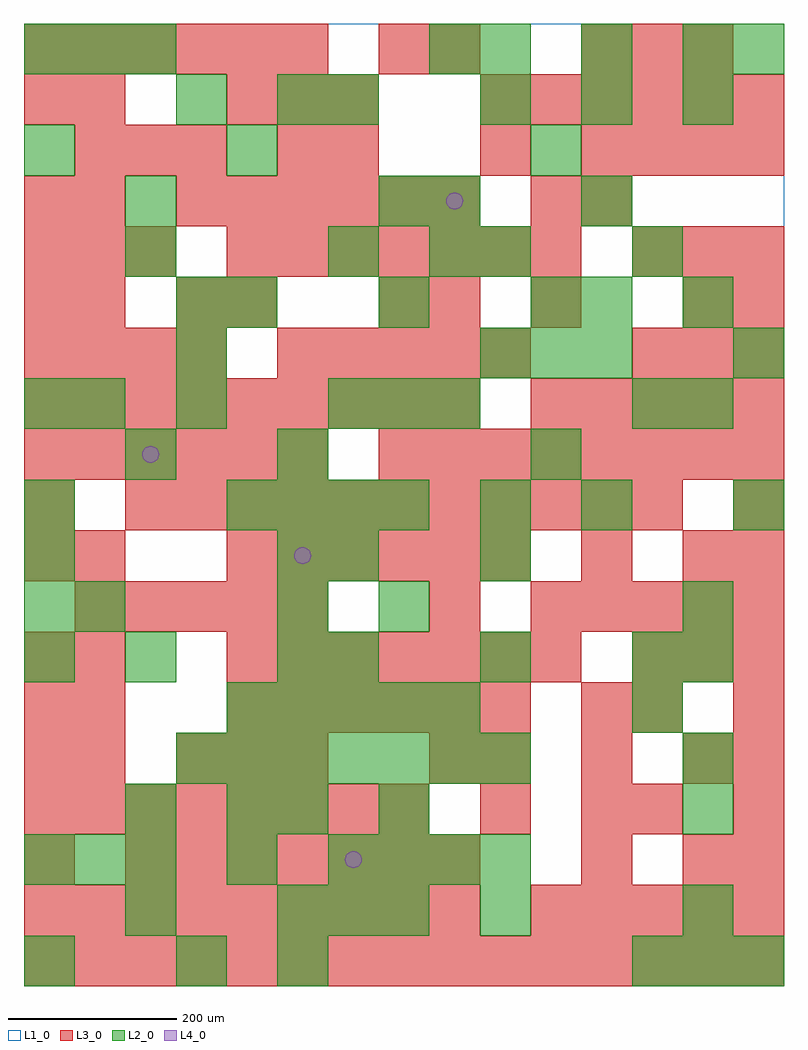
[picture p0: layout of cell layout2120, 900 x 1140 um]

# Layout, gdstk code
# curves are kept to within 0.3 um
import gdstk
lib = gdstk.Library(unit=1e-6, precision=1e-09)
def R(c, l, rs):  # rectangles x0, y0, x1, y1
    for r in rs: c.add(gdstk.rectangle(r[:2], r[2:], *l))
def A(c, l, x, y, w, h, nx, ny, dx, dy):  # array of equal rectangles
    R(c, l, [(x+i*dx, y+j*dy, x+i*dx+w, y+j*dy+h) for i in range(nx) for j in range(ny)])
def P(c, l, *ps):  # polygons
    for p in ps: c.add(gdstk.Polygon(p, *l))
L1_0 = (1, 0)
L2_0 = (2, 0)
L3_0 = (3, 0)
L4_0 = (4, 0)

layout2120 = lib.new_cell('layout2120')
R(layout2120, L1_0, [(0,0,900,1140)])
A(layout2120, L2_0, 300, 0, 60, 60, 1, 3, 0, 180)
A(layout2120, L2_0, 720, 0, 60, 60, 3, 1, 60, 0)
A(layout2120, L2_0, 300, 60, 60, 60, 3, 1, 60, 0)
A(layout2120, L2_0, 0, 120, 60, 60, 3, 2, 60, 960)
A(layout2120, L2_0, 360, 120, 60, 60, 4, 1, 60, 0)
A(layout2120, L2_0, 180, 240, 60, 60, 7, 1, 60, 0)
A(layout2120, L2_0, 240, 300, 60, 60, 5, 1, 60, 0)
A(layout2120, L2_0, 0, 360, 60, 60, 1, 4, 0, 60)
A(layout2120, L2_0, 120, 360, 60, 60, 1, 3, 0, 240)
A(layout2120, L2_0, 360, 360, 60, 60, 3, 1, 180, 0)
A(layout2120, L2_0, 240, 540, 60, 60, 4, 1, 60, 0)
A(layout2120, L2_0, 180, 660, 60, 60, 1, 3, 0, 60)
A(layout2120, L2_0, 360, 660, 60, 60, 3, 1, 60, 0)
A(layout2120, L2_0, 540, 720, 60, 60, 3, 1, 60, 0)
A(layout2120, L2_0, 240, 780, 60, 60, 3, 1, 180, 0)
A(layout2120, L2_0, 540, 1020, 60, 60, 3, 2, 120, 60)
R(layout2120, L2_0, [(0,0,60,60), (180,0,240,60), (120,60,180,120), (540,60,600,120), (780,60,840,120), (240,120,300,180), (120,180,180,240), (240,180,300,240), (420,180,480,240), (780,180,840,240), (780,240,840,300), (720,300,780,360), (780,360,840,420), (60,420,120,480), (300,420,360,480), (420,420,480,480), (780,420,840,480), (300,480,360,540), (360,480,420,540), (540,480,600,540), (540,540,600,600), (660,540,720,600), (840,540,900,600), (300,600,360,660), (600,600,660,660), (0,660,60,720), (60,660,120,720), (720,660,780,720), (780,660,840,720), (840,720,900,780), (660,780,720,840), (780,780,840,840), (360,840,420,900), (480,840,540,900), (540,840,600,900), (720,840,780,900), (120,900,180,960), (420,900,480,960), (480,900,540,960), (660,900,720,960), (0,960,60,1020), (240,960,300,1020), (600,960,660,1020), (180,1020,240,1080), (300,1020,360,1080), (360,1020,420,1080), (480,1080,540,1140), (840,1080,900,1140)])
A(layout2120, L3_0, 0, 0, 60, 60, 15, 1, 60, 0)
A(layout2120, L3_0, 0, 60, 60, 60, 9, 2, 60, 600)
A(layout2120, L3_0, 600, 60, 60, 60, 5, 2, 60, 360)
A(layout2120, L3_0, 120, 120, 60, 60, 7, 1, 60, 0)
A(layout2120, L3_0, 840, 120, 60, 60, 1, 4, 0, 60)
A(layout2120, L3_0, 0, 180, 60, 60, 8, 1, 60, 0)
A(layout2120, L3_0, 0, 240, 60, 60, 1, 3, 0, 60)
A(layout2120, L3_0, 60, 240, 60, 60, 1, 3, 0, 60)
A(layout2120, L3_0, 180, 240, 60, 60, 3, 1, 60, 0)
A(layout2120, L3_0, 540, 240, 60, 60, 3, 1, 120, 0)
A(layout2120, L3_0, 240, 300, 60, 60, 6, 2, 60, 180)
A(layout2120, L3_0, 240, 360, 60, 60, 7, 2, 60, 480)
A(layout2120, L3_0, 720, 360, 60, 60, 3, 2, 60, 360)
A(layout2120, L3_0, 60, 420, 60, 60, 5, 1, 60, 0)
A(layout2120, L3_0, 120, 540, 60, 60, 11, 1, 60, 0)
A(layout2120, L3_0, 0, 600, 60, 60, 6, 2, 60, 480)
A(layout2120, L3_0, 420, 600, 60, 60, 8, 1, 60, 0)
A(layout2120, L3_0, 600, 660, 60, 60, 5, 1, 60, 0)
A(layout2120, L3_0, 0, 720, 60, 60, 4, 1, 60, 0)
A(layout2120, L3_0, 300, 720, 60, 60, 5, 1, 60, 0)
A(layout2120, L3_0, 0, 780, 60, 60, 1, 3, 0, 120)
A(layout2120, L3_0, 60, 780, 60, 60, 1, 3, 0, 120)
A(layout2120, L3_0, 0, 840, 60, 60, 3, 1, 60, 0)
A(layout2120, L3_0, 720, 840, 60, 60, 3, 1, 60, 0)
A(layout2120, L3_0, 180, 900, 60, 60, 6, 1, 60, 0)
A(layout2120, L3_0, 60, 960, 60, 60, 3, 1, 60, 0)
A(layout2120, L3_0, 660, 960, 60, 60, 4, 1, 60, 0)
A(layout2120, L3_0, 240, 1020, 60, 60, 3, 1, 60, 0)
A(layout2120, L3_0, 540, 1020, 60, 60, 6, 1, 60, 0)
A(layout2120, L3_0, 660, 1080, 60, 60, 3, 1, 60, 0)
R(layout2120, L3_0, [(0,120,60,180), (660,120,720,180), (780,120,840,180), (540,180,600,240), (660,180,720,240), (720,180,780,240), (480,240,540,300), (660,300,720,360), (720,300,780,360), (480,420,540,480), (0,480,60,540), (60,480,120,540), (660,480,720,540), (780,480,840,540), (840,480,900,540), (0,540,60,600), (840,540,900,600), (180,780,240,840), (240,780,300,840), (420,780,480,840), (480,780,540,840), (600,780,660,840), (780,780,840,840), (840,780,900,840), (600,900,660,960), (660,900,720,960), (300,960,360,1020), (360,960,420,1020), (540,960,600,1020), (420,1080,480,1140), (480,1080,540,1140)])
P(layout2120, L4_0, [(160,630),(159.239,633.827),(157.071,637.071),(153.827,639.239),(150,640),(146.173,639.239),(142.929,637.071),(140.761,633.827),(140,630),(140.761,626.173),(142.929,622.929),(146.173,620.761),(150,620),(153.827,620.761),(157.071,622.929),(159.239,626.173)],
  [(340,510),(339.239,513.827),(337.071,517.071),(333.827,519.239),(330,520),(326.173,519.239),(322.929,517.071),(320.761,513.827),(320,510),(320.761,506.173),(322.929,502.929),(326.173,500.761),(330,500),(333.827,500.761),(337.071,502.929),(339.239,506.173)],
  [(400,150),(399.239,153.827),(397.071,157.071),(393.827,159.239),(390,160),(386.173,159.239),(382.929,157.071),(380.761,153.827),(380,150),(380.761,146.173),(382.929,142.929),(386.173,140.761),(390,140),(393.827,140.761),(397.071,142.929),(399.239,146.173)],
  [(520,930),(519.239,933.827),(517.071,937.071),(513.827,939.239),(510,940),(506.173,939.239),(502.929,937.071),(500.761,933.827),(500,930),(500.761,926.173),(502.929,922.929),(506.173,920.761),(510,920),(513.827,920.761),(517.071,922.929),(519.239,926.173)])

lib.write_gds('layout2120.gds')
